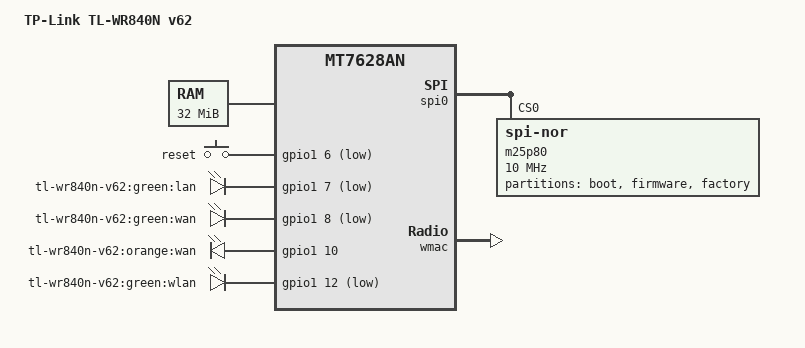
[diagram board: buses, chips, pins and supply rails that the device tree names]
/dts-v1/;

#include "mt7628an.dtsi"

#include <dt-bindings/gpio/gpio.h>
#include <dt-bindings/input/input.h>

/ {
	compatible = "tplink,tl-wr840n-v62", "mediatek,mt7628an-soc";
	model = "TP-Link TL-WR840N v62";

	aliases {
		led-boot = &led_power;
		led-failsafe = &led_power;
		led-running = &led_power;
		led-upgrade = &led_power;
	};

	chosen {
		bootargs = "console=ttyS0,115200";
	};

	memory@0 {
		device_type = "memory";
		reg = <0x0 0x2000000>;
	};

	keys {
		compatible = "gpio-keys-polled";
		poll-interval = <20>;

		reset {
			label = "reset";
			gpios = <&gpio1 6 GPIO_ACTIVE_LOW>;
			linux,code = <KEY_RESTART>;
		};
	};
	gpio-leds {
		compatible = "gpio-leds";

		lan {
			label = "tl-wr840n-v62:green:lan";
			gpios = <&gpio1 7 GPIO_ACTIVE_LOW>;
		};

		led_power: wan {
			label = "tl-wr840n-v62:green:wan";
			gpios = <&gpio1 8 GPIO_ACTIVE_LOW>;
		};

		wan_orange {
			label = "tl-wr840n-v62:orange:wan";
			gpios = <&gpio1 10 GPIO_ACTIVE_HIGH>;
		};

		wlan {
			label = "tl-wr840n-v62:green:wlan";
			gpios = <&gpio1 12 GPIO_ACTIVE_LOW>;
		};
	};
};

&spi0 {
	status = "okay";

	m25p80@0 {
		compatible = "jedec,spi-nor";
		reg = <0>;
		spi-max-frequency = <10000000>;

		partitions {
			compatible = "fixed-partitions";
			#address-cells = <1>;
			#size-cells = <1>;

			partition@0 {
				label = "boot";
				reg = <0x0 0x20000>;
				read-only;
			};

			partition@20000 {
				compatible = "tplink,firmware";
				label = "firmware";
				reg = <0x20000 0x3d0000>;
			};

			factory: partition@3f0000 {
				label = "factory";
				reg = <0x3f0000 0x10000>;
				read-only;
			};
		};
	};
};

&ehci {
	status = "disabled";
};

&ohci {
	status = "disabled";
};

&wmac {
	status = "okay";
	mtd-mac-address = <&factory 0xf100>;
	mediatek,mtd-eeprom = <&factory 0x0>;
};

&ethernet {
	mtd-mac-address = <&factory 0xf100>;
};

&esw {
	mediatek,portmap = <0x3e>;
};

&pinctrl {
	state_default: pinctrl0 {
		gpio {
			ralink,group = "p0led_an", "p2led_an", "p3led_an", "p4led_an", "perst";
			ralink,function = "gpio";
		};
	};
};
